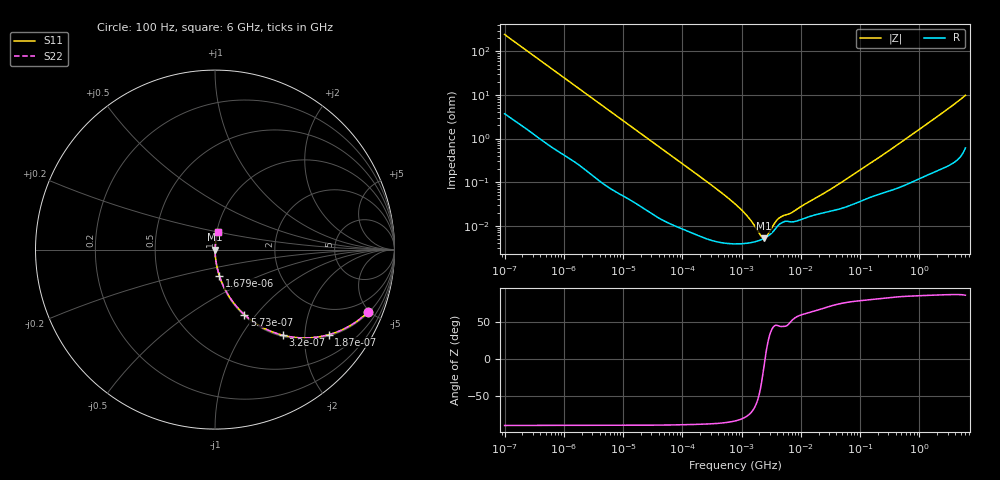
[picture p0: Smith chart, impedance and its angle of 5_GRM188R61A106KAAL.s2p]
!Murata Part Number: GRM188R61A106KAAL
!These Parameters are Measured in Series Mode Connection
!  o--ll--o
!Port1  Port2
!  o------o
!Operation Temp=25[C], DC Bias Voltage=0[V]
!Freq. Start=100[Hz] Stop=6000000000[Hz] 401[Steps]
# Hz S RI R 50
!Freq.(Hz) S11(Real) S11(Imag) S21(Real) S21(Imag) S12(Real) S12(Imag) S22(Real) S22(Imag)
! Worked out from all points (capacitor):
!   401 points, 100 Hz to 6 GHz, reference 50 ohm
!   read as one part in series: C = 6.45 uF near 109 Hz
!   lowest |Z| = 5.17 mohm at 2.373 MHz (marker M1)
!   series resonance near 2.487 MHz, so ESL is about 640 pH
!   S11 on the Smith chart (normalised r, x): 100 Hz: 1.07, -4.92; 187 Hz: 1.04, -2.65; 320 Hz: 1.02, -1.55; 573 Hz: 1.01, -0.87; 1.679 kHz: 1.01, -0.30; 6 GHz: 1.01, +0.20
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100  0.8545 -0.3452  0.1455 0.3452  0.1455 0.3452  0.8545 -0.3452
187  0.6344 -0.4739  0.3656 0.4739  0.3656 0.4739  0.6344 -0.4739
320  0.3785 -0.4773  0.6215 0.4773  0.6215 0.4773  0.3785 -0.4773
573  0.164 -0.3625  0.836 0.3625  0.836 0.3625  0.164 -0.3625
938  0.0706 -0.248  0.9294 0.248  0.9294 0.248  0.0706 -0.248
1679  0.0247 -0.1467  0.9753 0.1467  0.9753 0.1467  0.0247 -0.1467
2008  0.0178 -0.1239  0.9822 0.1239  0.9822 0.1239  0.0178 -0.1239
6433  0.00227 -0.0398  0.9977 0.0398  0.9977 0.0398  0.00227 -0.0398
40335  0.000191 -0.0065  0.9998 0.0065  0.9998 0.0065  0.000191 -0.0065
316350  4.63e-05 -0.000837  1 0.000837  1 0.000837  4.63e-05 -0.000837
774597  3.83e-05 -0.000315  1 0.000315  1 0.000315  3.83e-05 -0.000315
1108252  3.89e-05 -0.000195  1 0.000195  1 0.000195  3.89e-05 -0.000195
1658239  4.25e-05 -9.04e-05  1 9.04e-05  1 9.04e-05  4.25e-05 -9.04e-05
2372521  5.07e-05 -1.02e-05  0.9999 1.02e-05  0.9999 1.02e-05  5.07e-05 -1.02e-05
3245845  6.82e-05 5.83e-05  0.9999 -5.83e-05  0.9999 -5.83e-05  6.82e-05 5.83e-05
4643984  0.000114 0.000112  0.9999 -0.000112  0.9999 -0.000112  0.000114 0.000112
6948629  0.000122 0.000155  0.9999 -0.000155  0.9999 -0.000155  0.000122 0.000155
1.555665e7  0.00017 0.00035  0.9998 -0.00035  0.9998 -0.00035  0.00017 0.00035
3.983537e7  0.000231 0.000799  0.9998 -0.000799  0.9998 -0.000799  0.000231 0.000799
3.124326e8  0.000654 0.00532  0.9993 -0.00532  0.9993 -0.00532  0.000654 0.00532
1.95892e9  0.00274 0.031  0.9973 -0.031  0.9973 -0.031  0.00274 0.031
6e9  0.0155 0.0963  0.9845 -0.0963  0.9845 -0.0963  0.0155 0.0963
